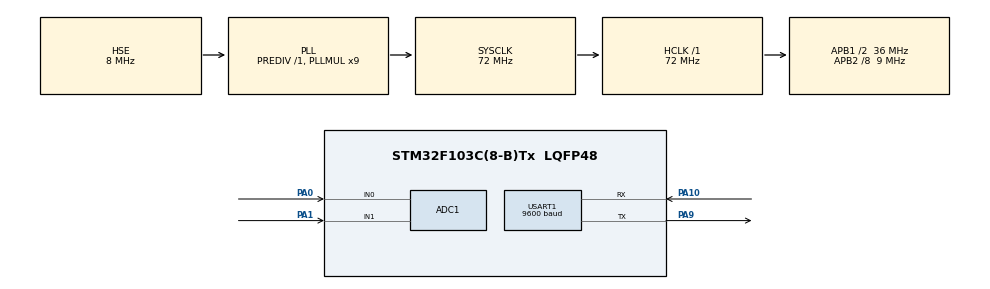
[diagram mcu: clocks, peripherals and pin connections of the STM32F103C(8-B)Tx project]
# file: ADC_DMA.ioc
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ADC1.Channel-0\#ChannelRegularConversion=ADC_CHANNEL_0
ADC1.Channel-1\#ChannelRegularConversion=ADC_CHANNEL_1
ADC1.ContinuousConvMode=ENABLE
ADC1.DataAlign=ADC_DATAALIGN_RIGHT
ADC1.NbrOfConversion=2
ADC1.NbrOfConversionFlag=1
ADC1.Rank-0\#ChannelRegularConversion=1
ADC1.Rank-1\#ChannelRegularConversion=2
ADC1.SamplingTime-0\#ChannelRegularConversion=ADC_SAMPLETIME_1CYCLE_5
ADC1.SamplingTime-1\#ChannelRegularConversion=ADC_SAMPLETIME_1CYCLE_5
ADC1.master=1
Dma.ADC1.0.Direction=DMA_PERIPH_TO_MEMORY
Dma.ADC1.0.Instance=DMA1_Channel1
Dma.ADC1.0.MemDataAlignment=DMA_MDATAALIGN_WORD
Dma.ADC1.0.MemInc=DMA_MINC_ENABLE
Dma.ADC1.0.Mode=DMA_CIRCULAR
Dma.ADC1.0.PeriphDataAlignment=DMA_PDATAALIGN_WORD
Dma.ADC1.0.PeriphInc=DMA_PINC_DISABLE
Dma.ADC1.0.Priority=DMA_PRIORITY_MEDIUM
Dma.Request0=ADC1
Mcu.Family=STM32F1
Mcu.Name=STM32F103C(8-B)Tx
Mcu.Package=LQFP48
NVIC.DMA1_Channel1_IRQn=true\:0\:0\:false\:false\:true\:false\:true\:true
NVIC.PriorityGroup=NVIC_PRIORITYGROUP_4
PA0-WKUP.Signal=ADCx_IN0
PA1.Signal=ADCx_IN1
PA10.Mode=Asynchronous
PA10.Signal=USART1_RX
PA9.Mode=Asynchronous
PA9.Signal=USART1_TX
PD0-OSC_IN.Mode=HSE-External-Oscillator
PD0-OSC_IN.Signal=RCC_OSC_IN
PD1-OSC_OUT.Mode=HSE-External-Oscillator
PD1-OSC_OUT.Signal=RCC_OSC_OUT
ProjectManager.HeapSize=0x200
ProjectManager.StackSize=0x400
ProjectManager.TargetToolchain=MDK-ARM V5.32
RCC.AHBFreq_Value=72000000
RCC.APB1CLKDivider=RCC_HCLK_DIV2
RCC.APB1Freq_Value=36000000
RCC.APB1TimFreq_Value=72000000
RCC.APB2CLKDivider=RCC_HCLK_DIV8
RCC.APB2Freq_Value=9000000
RCC.APB2TimFreq_Value=18000000
RCC.HCLKFreq_Value=72000000
RCC.PLLMUL=RCC_PLL_MUL9
RCC.PLLSourceVirtual=RCC_PLLSOURCE_HSE
RCC.SYSCLKFreq_VALUE=72000000
RCC.SYSCLKSource=RCC_SYSCLKSOURCE_PLLCLK
RCC.USBFreq_Value=72000000
SH.ADCx_IN0.0=ADC1_IN0,IN0
SH.ADCx_IN1.0=ADC1_IN1,IN1
USART1.BaudRate=9600
USART1.VirtualMode=VM_ASYNC
VP_SYS_VS_ND.Mode=No_Debug
board=custom

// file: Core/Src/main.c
/* USER CODE BEGIN Header */
/**
  ******************************************************************************
  * @file           : main.c
  * @brief          : Main program body
  ******************************************************************************
  * @attention
  *
  * Copyright (c) 2024 STMicroelectronics.
  * All rights reserved.
  *
  * This software is licensed under terms that can be found in the LICENSE file
  * in the root directory of this software component.
  * If no LICENSE file comes with this software, it is provided AS-IS.
  *
  ******************************************************************************
  */
/* USER CODE END Header */
#include "main.h"
#include "adc.h"
#include "dma.h"
#include "usart.h"
#include "gpio.h"

/* USER CODE BEGIN Includes */
#include "stdio.h"
/* USER CODE END Includes */

/* USER CODE BEGIN PV */
uint32_t ADC_Value[100];
uint8_t i;
uint32_t ad1,ad2;
/* USER CODE END PV */

void SystemClock_Config(void);

/* USER CODE BEGIN 0 */
int fputc(int ch, FILE *f) {
  uint8_t temp[1] = {ch};
  HAL_UART_Transmit(&huart1, temp, 1, 20);
  return ch;
}
/* USER CODE END 0 */

int main(void)
{

  /* MCU Configuration--------------------------------------------------------*/

  /* Reset of all peripherals, Initializes the Flash interface and the Systick. */
  HAL_Init();

  /* Configure the system clock */
  SystemClock_Config();

  /* Initialize all configured peripherals */
  MX_GPIO_Init();
  MX_DMA_Init();
  MX_ADC1_Init();
  MX_USART1_UART_Init();
  /* USER CODE BEGIN 2 */

  HAL_ADC_Start_DMA(&hadc1, (uint32_t*)&ADC_Value, 100);

  /* USER CODE END 2 */

  /* Infinite loop */
  /* USER CODE BEGIN WHILE */
  while (1)
  {
    HAL_Delay(500);
    for(i = 0,ad1 =0,ad2=0; i < 100;){
      ad1 += ADC_Value[i++];
      ad2 += ADC_Value[i++];
    }
    ad1 /= 50;
    ad2 /= 50;
    printf("\r\n********ADC-DMA-Example********\r\n");
    printf("[\tmain]info:AD1_value=%1.3fV\r\n", ad1*3.3f/4096);
    printf("[\tmain]info:AD2_value=%1.3fV\r\n", ad2*3.3f/4096);
    /* USER CODE END WHILE */

  }
}

void SystemClock_Config(void)
{
  RCC_OscInitTypeDef RCC_OscInitStruct = {0};
  RCC_ClkInitTypeDef RCC_ClkInitStruct = {0};
  RCC_PeriphCLKInitTypeDef PeriphClkInit = {0};

  /** Initializes the RCC Oscillators according to the specified parameters
  * in the RCC_OscInitTypeDef structure.
  */
  RCC_OscInitStruct.OscillatorType = RCC_OSCILLATORTYPE_HSE;
  RCC_OscInitStruct.HSEState = RCC_HSE_ON;
  RCC_OscInitStruct.HSEPredivValue = RCC_HSE_PREDIV_DIV1;
  RCC_OscInitStruct.HSIState = RCC_HSI_ON;
  RCC_OscInitStruct.PLL.PLLState = RCC_PLL_ON;
  RCC_OscInitStruct.PLL.PLLSource = RCC_PLLSOURCE_HSE;
  RCC_OscInitStruct.PLL.PLLMUL = RCC_PLL_MUL9;
  if (HAL_RCC_OscConfig(&RCC_OscInitStruct) != HAL_OK)
  {
    Error_Handler();
  }

  /** Initializes the CPU, AHB and APB buses clocks
  */
  RCC_ClkInitStruct.ClockType = RCC_CLOCKTYPE_HCLK|RCC_CLOCKTYPE_SYSCLK
                              |RCC_CLOCKTYPE_PCLK1|RCC_CLOCKTYPE_PCLK2;
  RCC_ClkInitStruct.SYSCLKSource = RCC_SYSCLKSOURCE_PLLCLK;
  RCC_ClkInitStruct.AHBCLKDivider = RCC_SYSCLK_DIV1;
  RCC_ClkInitStruct.APB1CLKDivider = RCC_HCLK_DIV2;
  RCC_ClkInitStruct.APB2CLKDivider = RCC_HCLK_DIV8;

  if (HAL_RCC_ClockConfig(&RCC_ClkInitStruct, FLASH_LATENCY_2) != HAL_OK)
  {
    Error_Handler();
  }
  PeriphClkInit.PeriphClockSelection = RCC_PERIPHCLK_ADC;
  PeriphClkInit.AdcClockSelection = RCC_ADCPCLK2_DIV2;
  if (HAL_RCCEx_PeriphCLKConfig(&PeriphClkInit) != HAL_OK)
  {
    Error_Handler();
  }
}

void Error_Handler(void)
{
  __disable_irq();
  while (1)
  {
  }
}
